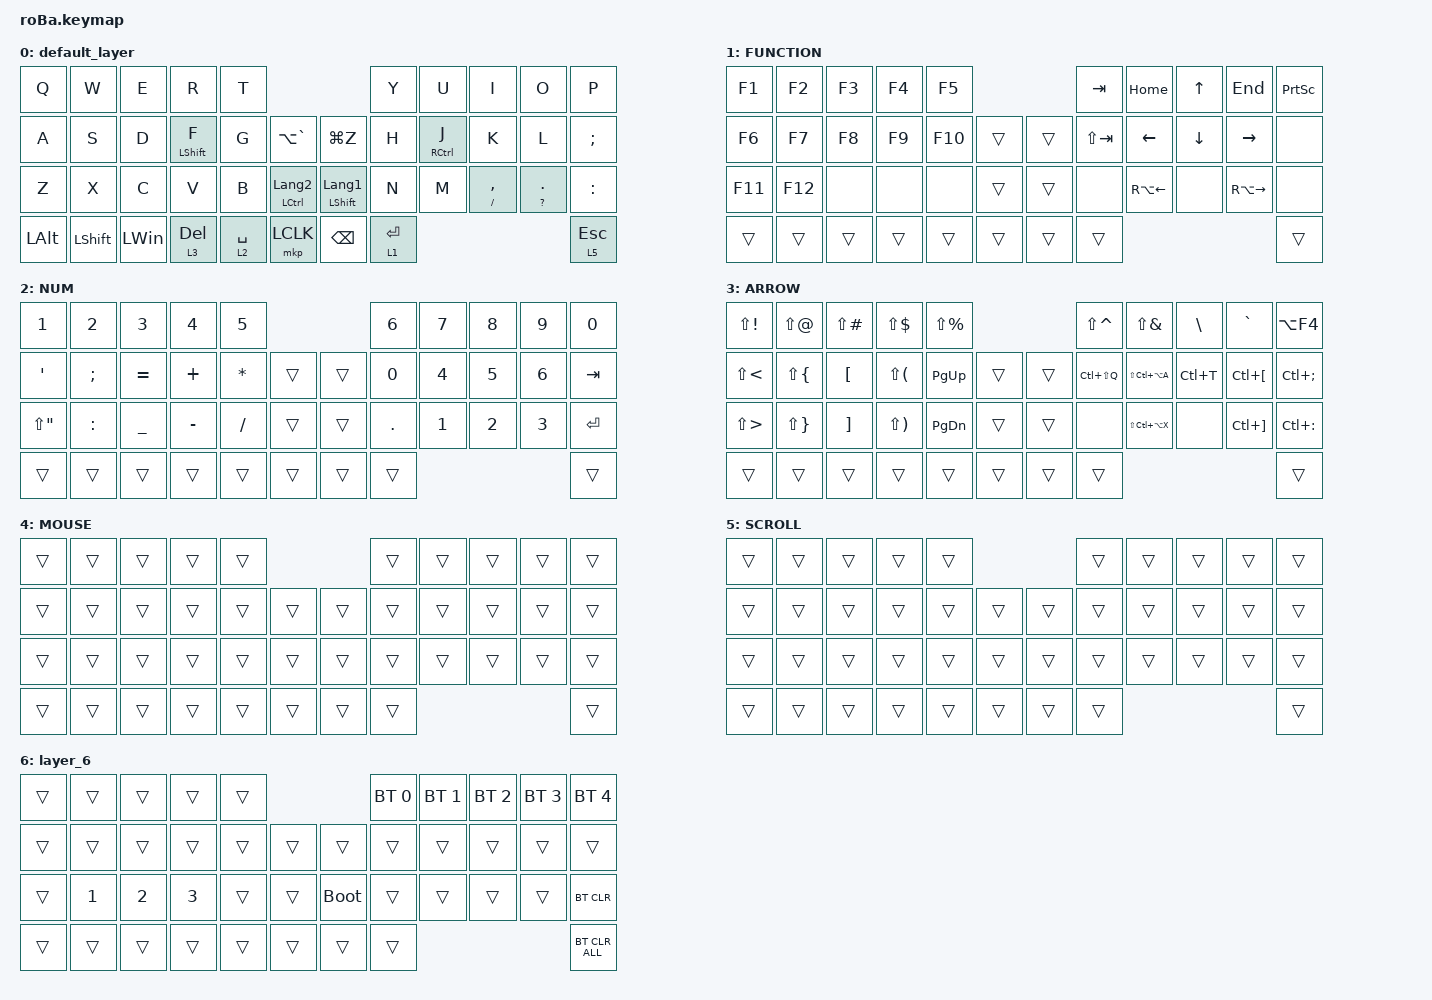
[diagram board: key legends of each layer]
#include <behaviors.dtsi>
#include <dt-bindings/zmk/bt.h>
#include <dt-bindings/zmk/keys.h>
#include <dt-bindings/zmk/pointing.h>

&mt {
    flavor = "balanced";
    quick-tap-ms = <0>;
};

&trackball {
    automouse-layer = <4>;
    scroll-layers = <5>;

    // arrows {
    //     layers = <3>;
    //     bindings =
    //         <&kp RIGHT_ARROW>,
    //         <&kp LEFT_ARROW>,
    //         <&kp UP_ARROW>,
    //         <&kp DOWN_ARROW>;
    //     tick = <10>;
    //     wait-ms = <5>;
    //     tap-ms = <5>;
    // };
};

/ {
    combos {
        compatible = "zmk,combos";

        tab {
            bindings = <&mkp LCLK>;
            key-positions = <18 19>;
        };

        shift_tab {
            bindings = <&mkp RCLK>;
            key-positions = <19 20>;
        };
    };

    keymap {
        compatible = "zmk,keymap";

        default_layer {
            bindings = <
&kp Q         &kp W           &kp E         &kp R             &kp T                                                             &kp Y        &kp U        &kp I            &kp O                &kp P
&kp A         &kp S           &kp D         &mt LEFT_SHIFT F  &kp G        &kp LA(GRAVE)             &kp LG(Z)                  &kp H        &mt RCTRL J  &kp K            &kp L                &kp SEMICOLON
&kp Z         &kp X           &kp C         &kp V             &kp B        &mt LCTRL LANGUAGE_2      &mt LEFT_SHIFT LANGUAGE_1  &kp N        &kp M        &mt SLASH COMMA  &mt QUESTION PERIOD  &kp COLON
&kp LEFT_ALT  &kp LEFT_SHIFT  &kp LEFT_WIN  &lt 3 DELETE      &lt 2 SPACE  &mkp LCLK                 &kp BACKSPACE              &lt 1 ENTER                                                     &lt 5 ESC
            >;
        };

        FUNCTION {
            bindings = <
&kp F1   &kp F2   &kp F3  &kp F4  &kp F5                       &kp TAB      &kp HOME        &kp UP_ARROW    &kp END        &kp PRINTSCREEN
&kp F6   &kp F7   &kp F8  &kp F9  &kp F10  &trans      &trans  &kp LS(TAB)  &kp LEFT_ARROW  &kp DOWN_ARROW  &kp RIGHT      &none
&kp F11  &kp F12  &none   &none   &none    &trans      &trans  &none        &kp RA(LEFT)    &none           &kp RA(RIGHT)  &none
&trans   &trans   &trans  &trans  &trans   &trans      &trans  &trans                                                      &trans
            >;
        };

        NUM {
            bindings = <
&kp N1                 &kp N2     &kp N3     &kp N4     &kp N5                            &kp N6   &kp N7  &kp N8  &kp N9  &kp N0
&kp SQT                &kp SEMI   &kp EQUAL  &kp PLUS   &kp ASTERISK  &trans      &trans  &kp N0   &kp N4  &kp N5  &kp N6  &kp TAB
&kp LS(DOUBLE_QUOTES)  &kp COLON  &kp UNDER  &kp MINUS  &kp FSLH      &trans      &trans  &kp DOT  &kp N1  &kp N2  &kp N3  &kp ENTER
&trans                 &trans     &trans     &trans     &trans        &trans      &trans  &trans                           &trans
            >;
        };

        ARROW {
            bindings = <
&kp LS(EXCL)  &kp LS(AT)    &kp LS(POUND)  &kp LS(DLLR)  &kp LS(PRCNT)                      &kp LS(CARET)  &kp LS(AMPS)       &kp BSLH   &kp GRAVE              &kp LA(F4)
&kp LS(LT)    &kp LS(LBRC)  &kp LBKT       &kp LS(LPAR)  &kp PAGE_UP    &trans      &trans  &kp LC(LS(Q))  &kp LS(LC(LA(A)))  &kp LC(T)  &kp LC(LEFT_BRACKET)   &kp LC(SEMI)
&kp LS(GT)    &kp LS(RBRC)  &kp RBKT       &kp LS(RPAR)  &kp PAGE_DOWN  &trans      &trans  &none          &kp LS(LC(LA(X)))  &none      &kp LC(RIGHT_BRACKET)  &kp LC(COLON)
&trans        &trans        &trans         &trans        &trans         &trans      &trans  &trans                                                              &trans
            >;
        };

        MOUSE {
            bindings = <
&trans  &trans  &trans  &trans  &trans                      &trans  &trans  &trans  &trans  &trans
&trans  &trans  &trans  &trans  &trans  &trans      &trans  &trans  &trans  &trans  &trans  &trans
&trans  &trans  &trans  &trans  &trans  &trans      &trans  &trans  &trans  &trans  &trans  &trans
&trans  &trans  &trans  &trans  &trans  &trans      &trans  &trans                          &trans
            >;
        };

        SCROLL {
            bindings = <
&trans  &trans  &trans  &trans  &trans                      &trans  &trans  &trans  &trans  &trans
&trans  &trans  &trans  &trans  &trans  &trans      &trans  &trans  &trans  &trans  &trans  &trans
&trans  &trans  &trans  &trans  &trans  &trans      &trans  &trans  &trans  &trans  &trans  &trans
&trans  &trans  &trans  &trans  &trans  &trans      &trans  &trans                          &trans
            >;
        };

        layer_6 {
            bindings = <
&trans  &trans        &trans        &trans        &trans                           &bt BT_SEL 0  &bt BT_SEL 1  &bt BT_SEL 2  &bt BT_SEL 3  &bt BT_SEL 4
&trans  &trans        &trans        &trans        &trans  &trans      &trans       &trans        &trans        &trans        &trans        &trans
&trans  &kp NUMBER_1  &kp NUMBER_2  &kp NUMBER_3  &trans  &trans      &bootloader  &trans        &trans        &trans        &trans        &bt BT_CLR
&trans  &trans        &trans        &trans        &trans  &trans      &trans       &trans                                                  &bt BT_CLR_ALL
            >;
        };
    };
};
